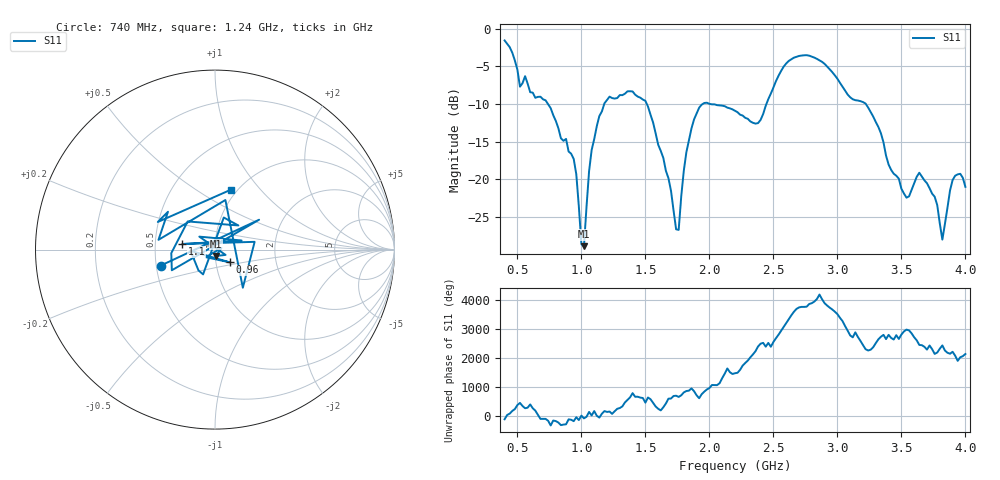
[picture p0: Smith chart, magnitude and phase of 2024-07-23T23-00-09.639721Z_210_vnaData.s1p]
!Created with skrf (http://scikit-rf.org).
# Hz S RI R 50.0
!freq ReS11 ImS11
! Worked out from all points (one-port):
!   181 points, 400 MHz to 4 GHz, reference 50 ohm
!   lowest |S11| = -28.9 dB at 1.02 GHz (marker M1), VSWR 1.07, Z = 50.4 - j3.6 ohm
!   |S11| at or under -10 dB: 738.7 MHz to 1.178 GHz (439.7 MHz wide, 45.9 % of centre); 1.511 GHz to 1.948 GHz (436.5 MHz wide, 25.2 % of centre); 3.222 GHz to end of sweep (the widest 3 of 4)
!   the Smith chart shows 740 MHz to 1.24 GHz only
!   S11 on the Smith chart (normalised r, x): 740 MHz: 0.53, -0.10; 960 MHz: 1.17, -0.17; 1.1 GHz: 0.69, +0.04; 1.24 GHz: 0.94, +0.71
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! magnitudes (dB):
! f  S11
! 400 MHz  -1.6
! 520 MHz  -7.7
! 560 MHz  -6.3
! 740 MHz  -10.0
! 860 MHz  -14.9
! 960 MHz  -19.3
! 1 GHz  -28.6
! 1.02 GHz  -28.9
! 1.06 GHz  -18.9
! 1.1 GHz  -14.7
! 1.24 GHz  -9.2
! 1.3 GHz  -8.8
! 1.52 GHz  -10.3
! 1.76 GHz  -26.7
! 1.82 GHz  -16.4
! 1.92 GHz  -10.5
! 2.2 GHz  -10.9
! 2.38 GHz  -12.5
! 2.66 GHz  -3.9
! 2.88 GHz  -4.4
! 3.1 GHz  -9.1
! 3.24 GHz  -10.5
! 3.56 GHz  -22.2
! 3.64 GHz  -19.1
! 3.76 GHz  -22.3
! 3.82 GHz  -28.0
! 3.9 GHz  -20.1
! 4 GHz  -21.0
